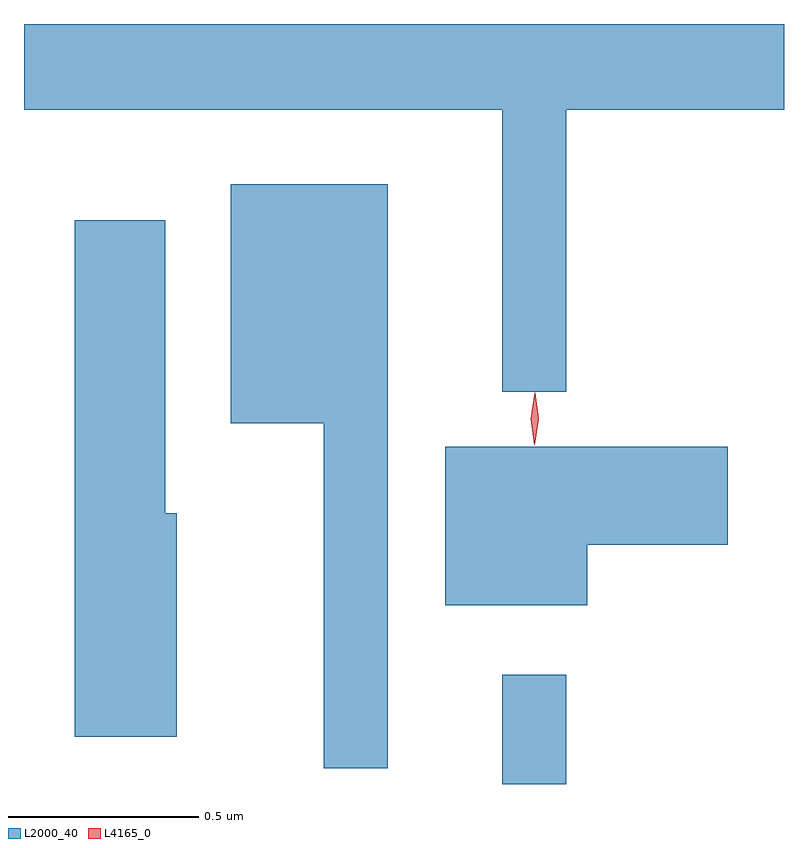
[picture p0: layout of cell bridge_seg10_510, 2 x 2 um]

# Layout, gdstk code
import gdstk
lib = gdstk.Library(unit=1e-6, precision=1e-09)
def R(c, l, rs):  # rectangles x0, y0, x1, y1
    for r in rs: c.add(gdstk.rectangle(r[:2], r[2:], *l))
def P(c, l, *ps):  # polygons
    for p in ps: c.add(gdstk.Polygon(p, *l))
L2000_40 = (2000, 40)
L4165_0 = (4165, 0)

bridge_seg10_510 = lib.new_cell('bridge_seg10_510')
R(bridge_seg10_510, L2000_40, [(921.601,2169.861,921.769,2170.148)])
P(bridge_seg10_510, L2000_40, [(921.769,2171.636),(922.342,2171.636),(922.342,2171.861),(920.342,2171.861),(920.342,2171.636),(921.601,2171.636),(921.601,2170.893),(921.769,2170.893)],
  [(921.299,2171.439),(920.886,2171.439),(920.886,2170.811),(921.131,2170.811),(921.131,2169.903),(921.299,2169.903)],
  [(920.744,2170.574),(920.714,2170.574),(920.714,2171.344),(920.476,2171.344),(920.476,2169.986),(920.744,2169.986)],
  [(921.824,2170.491),(922.194,2170.491),(922.194,2170.749),(921.451,2170.749),(921.451,2170.331),(921.824,2170.331)])
P(bridge_seg10_510, L4165_0, [(921.685,2170.754),(921.685,2170.754),(921.676,2170.822),(921.686,2170.89),(921.687,2170.89),(921.687,2170.89),(921.696,2170.822),(921.686,2170.754)],
  [(921.687,2170.76),(921.687,2170.76),(921.677,2170.823),(921.686,2170.886),(921.687,2170.887),(921.687,2170.886),(921.697,2170.823),(921.688,2170.76)])

lib.write_gds('bridge_seg10_510.gds')
